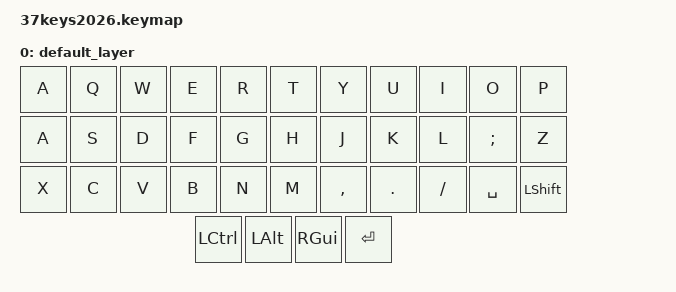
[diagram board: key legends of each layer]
#include <behaviors.dtsi>
#include <dt-bindings/zmk/keys.h>
#include <dt-bindings/zmk/bt.h>

/ {
    keymap {
        compatible = "zmk,keymap";

        default_layer {
            bindings = <
                // === Row 0 (左手 6キー / 右手 5キー = 計11キー) ===
                &kp A   &kp Q          &kp W          &kp E          &kp R          &kp T             &kp Y          &kp U          &kp I          &kp O          &kp P
                
                // === Row 1 (左手 6キー / 右手 5キー = 計11キー) ===
                &kp A            &kp S          &kp D          &kp F          &kp G          &kp H             &kp J          &kp K          &kp L          &kp SEMI       &kp Z
                
                // === Row 2 (左手 6キー / 右手 5キー = 計11キー) ===
                &kp X            &kp C          &kp V          &kp B          &kp N          &kp M             &kp COMMA      &kp DOT        &kp FSLH       &kp SPACE      &kp LSHIFT
                
                // === Row 3 親指 (左手 2キー / 右手 2キー = 計4キー) ===
                                                                              &kp LCTRL      &kp LALT          &kp RGUI       &kp ENTER
            >;
        };
    };
};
